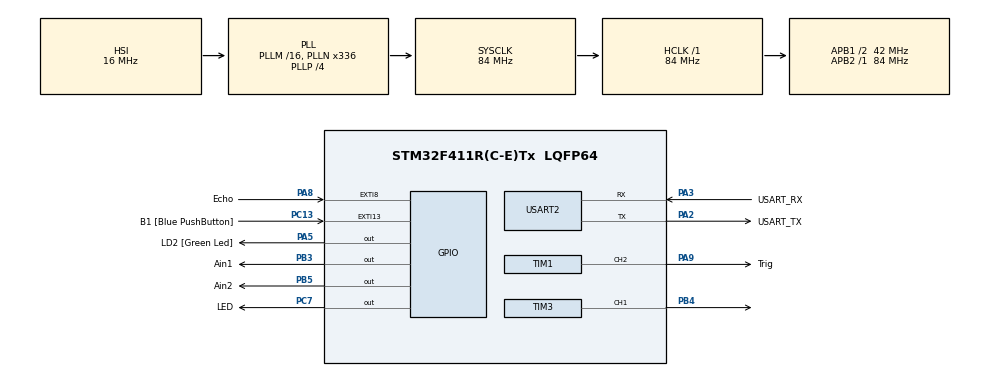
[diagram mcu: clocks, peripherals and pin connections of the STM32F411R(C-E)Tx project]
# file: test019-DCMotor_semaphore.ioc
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FREERTOS.BinarySemaphores01=myBinarySem01,Dynamic,NULL
FREERTOS.Tasks01=Task1,0,128,StartTask01,Default,NULL,Dynamic,NULL,NULL;Task2,-1,128,StartTask02,Default,NULL,Dynamic,NULL,NULL;Task3,-2,128,StartTask03,Default,NULL,Dynamic,NULL,NULL;Task4,-3,512,StartTask04,Default,NULL,Dynamic,NULL,NULL
FREERTOS.configUSE_NEWLIB_REENTRANT=1
Mcu.Family=STM32F4
Mcu.Name=STM32F411R(C-E)Tx
Mcu.Package=LQFP64
NVIC.EXTI9_5_IRQn=true\:0\:0\:false\:false\:true\:false\:true\:true\:true
NVIC.PriorityGroup=NVIC_PRIORITYGROUP_4
NVIC.TIM1_UP_TIM10_IRQn=true\:5\:0\:false\:false\:true\:true\:false\:true\:true
NVIC.TimeBase=TIM1_UP_TIM10_IRQn
NVIC.TimeBaseIP=TIM10
PA13.GPIO_Label=TMS
PA13.Mode=Serial_Wire
PA13.Signal=SYS_JTMS-SWDIO
PA14.GPIO_Label=TCK
PA14.Mode=Serial_Wire
PA14.Signal=SYS_JTCK-SWCLK
PA2.GPIO_Label=USART_TX
PA2.Mode=Asynchronous
PA2.Signal=USART2_TX
PA3.GPIO_Label=USART_RX
PA3.Mode=Asynchronous
PA3.Signal=USART2_RX
PA5.GPIO_Label=LD2 [Green Led]
PA5.Signal=GPIO_Output
PA8.GPIO_Label=Echo
PA8.GPIO_ModeDefaultEXTI=GPIO_MODE_IT_RISING_FALLING
PA8.Signal=GPXTI8
PA9.GPIO_Label=Trig
PA9.Signal=S_TIM1_CH2
PB3.GPIO_Label=Ain1
PB3.Signal=GPIO_Output
PB4.Signal=S_TIM3_CH1
PB5.GPIO_Label=Ain2
PB5.Signal=GPIO_Output
PC13-ANTI_TAMP.GPIO_Label=B1 [Blue PushButton]
PC13-ANTI_TAMP.GPIO_ModeDefaultEXTI=GPIO_MODE_IT_FALLING
PC13-ANTI_TAMP.Signal=GPXTI13
PC14-OSC32_IN.Mode=LSE-External-Oscillator
PC14-OSC32_IN.Signal=RCC_OSC32_IN
PC15-OSC32_OUT.Mode=LSE-External-Oscillator
PC15-OSC32_OUT.Signal=RCC_OSC32_OUT
PC7.GPIO_Label=LED
PC7.Signal=GPIO_Output
PH0\ -\ OSC_IN.Mode=HSE-External-Clock-Source
PH0\ -\ OSC_IN.Signal=RCC_OSC_IN
PH1\ -\ OSC_OUT.Mode=HSE-External-Clock-Source
PH1\ -\ OSC_OUT.Signal=RCC_OSC_OUT
ProjectManager.HeapSize=0x200
ProjectManager.StackSize=0x400
ProjectManager.TargetToolchain=STM32CubeIDE
RCC.48MHZClocksFreq_Value=84000000
RCC.AHBFreq_Value=84000000
RCC.APB1CLKDivider=RCC_HCLK_DIV2
RCC.APB1Freq_Value=42000000
RCC.APB1TimFreq_Value=84000000
RCC.APB2Freq_Value=84000000
RCC.APB2TimFreq_Value=84000000
RCC.CortexFreq_Value=84000000
RCC.FLatency-AdvancedSettings=FLASH_LATENCY_2
RCC.HCLKFreq_Value=84000000
RCC.HSE_VALUE=8000000
RCC.HSI_VALUE=16000000
RCC.PLLN=336
RCC.PLLP=RCC_PLLP_DIV4
RCC.SYSCLKFreq_VALUE=84000000
RCC.SYSCLKSource=RCC_SYSCLKSOURCE_PLLCLK
RCC.VCOOutputFreq_Value=336000000
SH.S_TIM1_CH2.0=TIM1_CH2,PWM Generation2 CH2
SH.S_TIM3_CH1.0=TIM3_CH1,PWM Generation1 CH1
TIM1.Channel-PWM\ Generation2\ CH2=TIM_CHANNEL_2
TIM1.Period=10000-1
TIM1.Prescaler=420-1
TIM1.Pulse-PWM\ Generation2\ CH2=2
TIM2.Prescaler=84-1
TIM3.Channel-PWM\ Generation1\ CH1=TIM_CHANNEL_1
TIM3.Period=1000-1
TIM3.Prescaler=84-1
TIM3.Pulse-PWM\ Generation1\ CH1=500
USART2.VirtualMode=VM_ASYNC
VP_FREERTOS_VS_CMSIS_V1.Mode=CMSIS_V1
VP_SYS_VS_tim10.Mode=TIM10
VP_TIM1_VS_ClockSourceINT.Mode=Internal
VP_TIM2_VS_ClockSourceINT.Mode=Internal
VP_TIM3_VS_ClockSourceINT.Mode=Internal
board=NUCLEO-F411RE

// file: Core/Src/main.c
/* USER CODE BEGIN Header */
/**
  ******************************************************************************
  * @file           : main.c
  * @brief          : Main program body
  ******************************************************************************
  * @attention
  *
  * Copyright (c) 2025 STMicroelectronics.
  * All rights reserved.
  *
  * This software is licensed under terms that can be found in the LICENSE file
  * in the root directory of this software component.
  * If no LICENSE file comes with this software, it is provided AS-IS.
  *
  ******************************************************************************
  */
/* USER CODE END Header */
#include "main.h"
#include "cmsis_os.h"

TIM_HandleTypeDef htim1;
TIM_HandleTypeDef htim2;
TIM_HandleTypeDef htim3;

UART_HandleTypeDef huart2;

osThreadId Task1Handle;
osThreadId Task2Handle;
osThreadId Task3Handle;
osThreadId Task4Handle;
osSemaphoreId myBinarySem01Handle;

void SystemClock_Config(void);
static void MX_GPIO_Init(void);
static void MX_USART2_UART_Init(void);
static void MX_TIM1_Init(void);
static void MX_TIM2_Init(void);
static void MX_TIM3_Init(void);
void StartTask01(void const * argument);
void StartTask02(void const * argument);
void StartTask03(void const * argument);
void StartTask04(void const * argument);

/* USER CODE BEGIN 0 */

double distance = 0;
void HAL_GPIO_EXTI_Callback(uint16_t GPIO_Pin)
{
	if(GPIO_Pin == Echo_Pin)
	{
		if(HAL_GPIO_ReadPin(Echo_GPIO_Port, Echo_Pin) == 1) // rising edge
		{
			htim2.Instance->CNT = 0;
		}
		else												// falling edge
		{
			distance = (htim2.Instance->CNT) * 0.17;
		}
	}
}

/* USER CODE END 0 */

int main(void)
{

  /* MCU Configuration--------------------------------------------------------*/

  /* Reset of all peripherals, Initializes the Flash interface and the Systick. */
  HAL_Init();

  /* Configure the system clock */
  SystemClock_Config();

  /* Initialize all configured peripherals */
  MX_GPIO_Init();
  MX_USART2_UART_Init();
  MX_TIM1_Init();
  MX_TIM2_Init();
  MX_TIM3_Init();

  /* Create the semaphores(s) */
  /* definition and creation of myBinarySem01 */
  osSemaphoreDef(myBinarySem01);
  myBinarySem01Handle = osSemaphoreCreate(osSemaphore(myBinarySem01), 1);

  /* Create the thread(s) */
  /* definition and creation of Task1 */
  osThreadDef(Task1, StartTask01, osPriorityNormal, 0, 128);
  Task1Handle = osThreadCreate(osThread(Task1), NULL);

  /* definition and creation of Task2 */
  osThreadDef(Task2, StartTask02, osPriorityBelowNormal, 0, 128);
  Task2Handle = osThreadCreate(osThread(Task2), NULL);

  /* definition and creation of Task3 */
  osThreadDef(Task3, StartTask03, osPriorityLow, 0, 128);
  Task3Handle = osThreadCreate(osThread(Task3), NULL);

  /* definition and creation of Task4 */
  osThreadDef(Task4, StartTask04, osPriorityIdle, 0, 512);
  Task4Handle = osThreadCreate(osThread(Task4), NULL);

  /* USER CODE BEGIN RTOS_THREADS */
  /* add threads, ... */
  ProgramStart("Semaphore Test - Ultrasonic & Motor & LED & UART");
  osSemaphoreRelease(myBinarySem01Handle);
  HAL_TIM_PWM_Start(&htim1, TIM_CHANNEL_2);   // Ultrasonic Trigger PWM Start
  HAL_TIM_Base_Start(&htim2);                 // 1ns counter start
  HAL_TIM_PWM_Start(&htim3, TIM_CHANNEL_1);   // Motor PWM Start
  HAL_GPIO_WritePin(Ain1_GPIO_Port, Ain1_Pin, 1);
  HAL_GPIO_WritePin(Ain2_GPIO_Port, Ain2_Pin, 0);

  /* USER CODE END RTOS_THREADS */

  /* Start scheduler */
  osKernelStart();

  /* We should never get here as control is now taken by the scheduler */
  /* Infinite loop */
  while (1)
  {

  }
}

void SystemClock_Config(void)
{
  RCC_OscInitTypeDef RCC_OscInitStruct = {0};
  RCC_ClkInitTypeDef RCC_ClkInitStruct = {0};

  /** Configure the main internal regulator output voltage
  */
  __HAL_RCC_PWR_CLK_ENABLE();
  __HAL_PWR_VOLTAGESCALING_CONFIG(PWR_REGULATOR_VOLTAGE_SCALE1);

  /** Initializes the RCC Oscillators according to the specified parameters
  * in the RCC_OscInitTypeDef structure.
  */
  RCC_OscInitStruct.OscillatorType = RCC_OSCILLATORTYPE_HSI;
  RCC_OscInitStruct.HSIState = RCC_HSI_ON;
  RCC_OscInitStruct.HSICalibrationValue = RCC_HSICALIBRATION_DEFAULT;
  RCC_OscInitStruct.PLL.PLLState = RCC_PLL_ON;
  RCC_OscInitStruct.PLL.PLLSource = RCC_PLLSOURCE_HSI;
  RCC_OscInitStruct.PLL.PLLM = 16;
  RCC_OscInitStruct.PLL.PLLN = 336;
  RCC_OscInitStruct.PLL.PLLP = RCC_PLLP_DIV4;
  RCC_OscInitStruct.PLL.PLLQ = 4;
  if (HAL_RCC_OscConfig(&RCC_OscInitStruct) != HAL_OK)
  {
    Error_Handler();
  }

  /** Initializes the CPU, AHB and APB buses clocks
  */
  RCC_ClkInitStruct.ClockType = RCC_CLOCKTYPE_HCLK|RCC_CLOCKTYPE_SYSCLK
                              |RCC_CLOCKTYPE_PCLK1|RCC_CLOCKTYPE_PCLK2;
  RCC_ClkInitStruct.SYSCLKSource = RCC_SYSCLKSOURCE_PLLCLK;
  RCC_ClkInitStruct.AHBCLKDivider = RCC_SYSCLK_DIV1;
  RCC_ClkInitStruct.APB1CLKDivider = RCC_HCLK_DIV2;
  RCC_ClkInitStruct.APB2CLKDivider = RCC_HCLK_DIV1;

  if (HAL_RCC_ClockConfig(&RCC_ClkInitStruct, FLASH_LATENCY_2) != HAL_OK)
  {
    Error_Handler();
  }
}

static void MX_TIM1_Init(void)
{

  TIM_ClockConfigTypeDef sClockSourceConfig = {0};
  TIM_MasterConfigTypeDef sMasterConfig = {0};
  TIM_OC_InitTypeDef sConfigOC = {0};
  TIM_BreakDeadTimeConfigTypeDef sBreakDeadTimeConfig = {0};

  htim1.Instance = TIM1;
  htim1.Init.Prescaler = 420-1;
  htim1.Init.CounterMode = TIM_COUNTERMODE_UP;
  htim1.Init.Period = 10000-1;
  htim1.Init.ClockDivision = TIM_CLOCKDIVISION_DIV1;
  htim1.Init.RepetitionCounter = 0;
  htim1.Init.AutoReloadPreload = TIM_AUTORELOAD_PRELOAD_DISABLE;
  if (HAL_TIM_Base_Init(&htim1) != HAL_OK)
  {
    Error_Handler();
  }
  sClockSourceConfig.ClockSource = TIM_CLOCKSOURCE_INTERNAL;
  if (HAL_TIM_ConfigClockSource(&htim1, &sClockSourceConfig) != HAL_OK)
  {
    Error_Handler();
  }
  if (HAL_TIM_PWM_Init(&htim1) != HAL_OK)
  {
    Error_Handler();
  }
  sMasterConfig.MasterOutputTrigger = TIM_TRGO_RESET;
  sMasterConfig.MasterSlaveMode = TIM_MASTERSLAVEMODE_DISABLE;
  if (HAL_TIMEx_MasterConfigSynchronization(&htim1, &sMasterConfig) != HAL_OK)
  {
    Error_Handler();
  }
  sConfigOC.OCMode = TIM_OCMODE_PWM1;
  sConfigOC.Pulse = 2;
  sConfigOC.OCPolarity = TIM_OCPOLARITY_HIGH;
  sConfigOC.OCNPolarity = TIM_OCNPOLARITY_HIGH;
  sConfigOC.OCFastMode = TIM_OCFAST_DISABLE;
  sConfigOC.OCIdleState = TIM_OCIDLESTATE_RESET;
  sConfigOC.OCNIdleState = TIM_OCNIDLESTATE_RESET;
  if (HAL_TIM_PWM_ConfigChannel(&htim1, &sConfigOC, TIM_CHANNEL_2) != HAL_OK)
  {
    Error_Handler();
  }
  sBreakDeadTimeConfig.OffStateRunMode = TIM_OSSR_DISABLE;
  sBreakDeadTimeConfig.OffStateIDLEMode = TIM_OSSI_DISABLE;
  sBreakDeadTimeConfig.LockLevel = TIM_LOCKLEVEL_OFF;
  sBreakDeadTimeConfig.DeadTime = 0;
  sBreakDeadTimeConfig.BreakState = TIM_BREAK_DISABLE;
  sBreakDeadTimeConfig.BreakPolarity = TIM_BREAKPOLARITY_HIGH;
  sBreakDeadTimeConfig.AutomaticOutput = TIM_AUTOMATICOUTPUT_DISABLE;
  if (HAL_TIMEx_ConfigBreakDeadTime(&htim1, &sBreakDeadTimeConfig) != HAL_OK)
  {
    Error_Handler();
  }
  HAL_TIM_MspPostInit(&htim1);

}

static void MX_TIM2_Init(void)
{

  TIM_ClockConfigTypeDef sClockSourceConfig = {0};
  TIM_MasterConfigTypeDef sMasterConfig = {0};

  htim2.Instance = TIM2;
  htim2.Init.Prescaler = 84-1;
  htim2.Init.CounterMode = TIM_COUNTERMODE_UP;
  htim2.Init.Period = 4294967295;
  htim2.Init.ClockDivision = TIM_CLOCKDIVISION_DIV1;
  htim2.Init.AutoReloadPreload = TIM_AUTORELOAD_PRELOAD_DISABLE;
  if (HAL_TIM_Base_Init(&htim2) != HAL_OK)
  {
    Error_Handler();
  }
  sClockSourceConfig.ClockSource = TIM_CLOCKSOURCE_INTERNAL;
  if (HAL_TIM_ConfigClockSource(&htim2, &sClockSourceConfig) != HAL_OK)
  {
    Error_Handler();
  }
  sMasterConfig.MasterOutputTrigger = TIM_TRGO_RESET;
  sMasterConfig.MasterSlaveMode = TIM_MASTERSLAVEMODE_DISABLE;
  if (HAL_TIMEx_MasterConfigSynchronization(&htim2, &sMasterConfig) != HAL_OK)
  {
    Error_Handler();
  }

}

static void MX_TIM3_Init(void)
{

  TIM_ClockConfigTypeDef sClockSourceConfig = {0};
  TIM_MasterConfigTypeDef sMasterConfig = {0};
  TIM_OC_InitTypeDef sConfigOC = {0};

  htim3.Instance = TIM3;
  htim3.Init.Prescaler = 84-1;
  htim3.Init.CounterMode = TIM_COUNTERMODE_UP;
  htim3.Init.Period = 1000-1;
  htim3.Init.ClockDivision = TIM_CLOCKDIVISION_DIV1;
  htim3.Init.AutoReloadPreload = TIM_AUTORELOAD_PRELOAD_DISABLE;
  if (HAL_TIM_Base_Init(&htim3) != HAL_OK)
  {
    Error_Handler();
  }
  sClockSourceConfig.ClockSource = TIM_CLOCKSOURCE_INTERNAL;
  if (HAL_TIM_ConfigClockSource(&htim3, &sClockSourceConfig) != HAL_OK)
  {
    Error_Handler();
  }
  if (HAL_TIM_PWM_Init(&htim3) != HAL_OK)
  {
    Error_Handler();
  }
  sMasterConfig.MasterOutputTrigger = TIM_TRGO_RESET;
  sMasterConfig.MasterSlaveMode = TIM_MASTERSLAVEMODE_DISABLE;
  if (HAL_TIMEx_MasterConfigSynchronization(&htim3, &sMasterConfig) != HAL_OK)
  {
    Error_Handler();
  }
  sConfigOC.OCMode = TIM_OCMODE_PWM1;
  sConfigOC.Pulse = 500;
  sConfigOC.OCPolarity = TIM_OCPOLARITY_HIGH;
  sConfigOC.OCFastMode = TIM_OCFAST_DISABLE;
  if (HAL_TIM_PWM_ConfigChannel(&htim3, &sConfigOC, TIM_CHANNEL_1) != HAL_OK)
  {
    Error_Handler();
  }
  HAL_TIM_MspPostInit(&htim3);

}

static void MX_USART2_UART_Init(void)
{

  huart2.Instance = USART2;
  huart2.Init.BaudRate = 115200;
  huart2.Init.WordLength = UART_WORDLENGTH_8B;
  huart2.Init.StopBits = UART_STOPBITS_1;
  huart2.Init.Parity = UART_PARITY_NONE;
  huart2.Init.Mode = UART_MODE_TX_RX;
  huart2.Init.HwFlowCtl = UART_HWCONTROL_NONE;
  huart2.Init.OverSampling = UART_OVERSAMPLING_16;
  if (HAL_UART_Init(&huart2) != HAL_OK)
  {
    Error_Handler();
  }

}

static void MX_GPIO_Init(void)
{
  GPIO_InitTypeDef GPIO_InitStruct = {0};

  /* GPIO Ports Clock Enable */
  __HAL_RCC_GPIOC_CLK_ENABLE();
  __HAL_RCC_GPIOH_CLK_ENABLE();
  __HAL_RCC_GPIOA_CLK_ENABLE();
  __HAL_RCC_GPIOB_CLK_ENABLE();

  /*Configure GPIO pin Output Level */
  HAL_GPIO_WritePin(LD2_GPIO_Port, LD2_Pin, GPIO_PIN_RESET);

  /*Configure GPIO pin Output Level */
  HAL_GPIO_WritePin(LED_GPIO_Port, LED_Pin, GPIO_PIN_RESET);

  /*Configure GPIO pin Output Level */
  HAL_GPIO_WritePin(GPIOB, Ain1_Pin|Ain2_Pin, GPIO_PIN_RESET);

  /*Configure GPIO pin : B1_Pin */
  GPIO_InitStruct.Pin = B1_Pin;
  GPIO_InitStruct.Mode = GPIO_MODE_IT_FALLING;
  GPIO_InitStruct.Pull = GPIO_NOPULL;
  HAL_GPIO_Init(B1_GPIO_Port, &GPIO_InitStruct);

  /*Configure GPIO pin : LD2_Pin */
  GPIO_InitStruct.Pin = LD2_Pin;
  GPIO_InitStruct.Mode = GPIO_MODE_OUTPUT_PP;
  GPIO_InitStruct.Pull = GPIO_NOPULL;
  GPIO_InitStruct.Speed = GPIO_SPEED_FREQ_LOW;
  HAL_GPIO_Init(LD2_GPIO_Port, &GPIO_InitStruct);

  /*Configure GPIO pin : LED_Pin */
  GPIO_InitStruct.Pin = LED_Pin;
  GPIO_InitStruct.Mode = GPIO_MODE_OUTPUT_PP;
  GPIO_InitStruct.Pull = GPIO_NOPULL;
  GPIO_InitStruct.Speed = GPIO_SPEED_FREQ_LOW;
  HAL_GPIO_Init(LED_GPIO_Port, &GPIO_InitStruct);

  /*Configure GPIO pin : Echo_Pin */
  GPIO_InitStruct.Pin = Echo_Pin;
  GPIO_InitStruct.Mode = GPIO_MODE_IT_RISING_FALLING;
  GPIO_InitStruct.Pull = GPIO_NOPULL;
  HAL_GPIO_Init(Echo_GPIO_Port, &GPIO_InitStruct);

  /*Configure GPIO pins : Ain1_Pin Ain2_Pin */
  GPIO_InitStruct.Pin = Ain1_Pin|Ain2_Pin;
  GPIO_InitStruct.Mode = GPIO_MODE_OUTPUT_PP;
  GPIO_InitStruct.Pull = GPIO_NOPULL;
  GPIO_InitStruct.Speed = GPIO_SPEED_FREQ_LOW;
  HAL_GPIO_Init(GPIOB, &GPIO_InitStruct);

  /* EXTI interrupt init*/
  HAL_NVIC_SetPriority(EXTI9_5_IRQn, 0, 0);
  HAL_NVIC_EnableIRQ(EXTI9_5_IRQn);

}

void StartTask01(void const * argument)
{
  /* USER CODE BEGIN 5 */
  /* Infinite loop */
  for(;;)
  {
	  if(osSemaphoreWait(myBinarySem01Handle, 0) == osOK)
	  {

		  if(distance < 50)
		  {
			  HAL_GPIO_WritePin(Ain1_GPIO_Port, Ain1_Pin, 1);
			  HAL_GPIO_WritePin(Ain2_GPIO_Port, Ain2_Pin, 1);
		  }
		  else
		  {
			  HAL_GPIO_WritePin(Ain1_GPIO_Port, Ain1_Pin, 1);
			  HAL_GPIO_WritePin(Ain2_GPIO_Port, Ain2_Pin, 0);
		  }
		  osSemaphoreRelease(myBinarySem01Handle);
	  }
	  osDelay(100);
  }
  /* USER CODE END 5 */
}

/* USER CODE BEGIN Header_StartTask02 */
/**
* @brief Function implementing the Task2 thread.
* @param argument: Not used
* @retval None
*/
int ccr1 = 500;
/* USER CODE END Header_StartTask02 */
void StartTask02(void const * argument)
{
  /* USER CODE BEGIN StartTask02 */
  /* Infinite loop */
  for(;;)
  {
	  if(osSemaphoreWait(myBinarySem01Handle, 0) == osOK)
	  	  {
		  	  if(distance < 50)	htim3.Instance->CCR1 = 0;
		  	  else				htim3.Instance->CCR1 = ccr1;

	  		  osSemaphoreRelease(myBinarySem01Handle);
	  	  }
	  osDelay(100);
  }
  /* USER CODE END StartTask02 */
}

void StartTask03(void const * argument)
{
  /* USER CODE BEGIN StartTask03 */
  /* Infinite loop */
  for(;;)
  {
	  if(osSemaphoreWait(myBinarySem01Handle, 0) == osOK)
	  	  {
		  	  if(distance < 50) HAL_GPIO_WritePin(LED_GPIO_Port, LED_Pin, 1);
		  	  else				HAL_GPIO_WritePin(LED_GPIO_Port, LED_Pin, 0);

	  		  osSemaphoreRelease(myBinarySem01Handle);
	  	  }
	  osDelay(100);
  }
  /* USER CODE END StartTask03 */
}

void StartTask04(void const * argument)
{
  /* USER CODE BEGIN StartTask04 */
  /* Infinite loop */
  for(;;)
  {
	  if(osSemaphoreWait(myBinarySem01Handle, 0) == osOK)
	  	  {
		  	  printf("Distance : %6.2f\r\n", distance);

	  		  osSemaphoreRelease(myBinarySem01Handle);
	  	  }
	  osDelay(100);
  }
  /* USER CODE END StartTask04 */
}

void HAL_TIM_PeriodElapsedCallback(TIM_HandleTypeDef *htim)
{
  if (htim->Instance == TIM10) {
    HAL_IncTick();
  }
}

void Error_Handler(void)
{
  __disable_irq();
  while (1)
  {
  }
}
